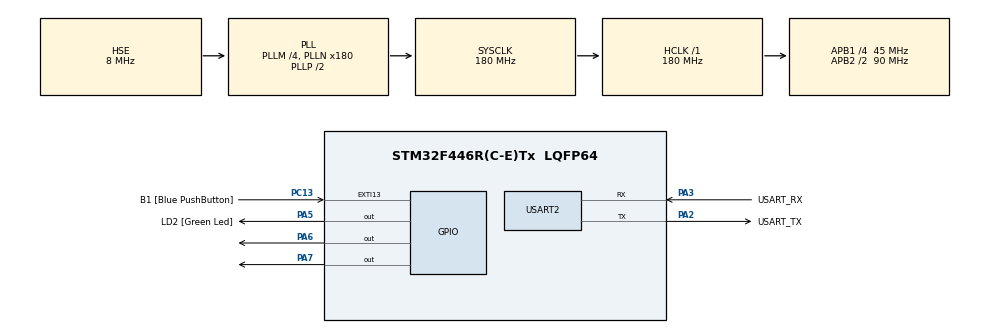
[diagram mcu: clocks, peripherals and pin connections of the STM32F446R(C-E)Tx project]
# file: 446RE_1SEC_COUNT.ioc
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Mcu.Family=STM32F4
Mcu.Name=STM32F446R(C-E)Tx
Mcu.Package=LQFP64
NVIC.PriorityGroup=NVIC_PRIORITYGROUP_0
NVIC.TIM2_IRQn=true\:0\:0\:false\:false\:true\:true
PA13.GPIO_Label=TMS
PA13.Mode=Serial_Wire
PA13.Signal=SYS_JTMS-SWDIO
PA14.GPIO_Label=TCK
PA14.Mode=Serial_Wire
PA14.Signal=SYS_JTCK-SWCLK
PA2.GPIO_Label=USART_TX
PA2.Mode=Asynchronous
PA2.Signal=USART2_TX
PA3.GPIO_Label=USART_RX
PA3.Mode=Asynchronous
PA3.Signal=USART2_RX
PA5.GPIO_Label=LD2 [Green Led]
PA5.Signal=GPIO_Output
PA6.Signal=GPIO_Output
PA7.Signal=GPIO_Output
PB3.GPIO_Label=SWO
PB3.Signal=SYS_JTDO-SWO
PC13.GPIO_Label=B1 [Blue PushButton]
PC13.GPIO_ModeDefaultEXTI=GPIO_MODE_IT_FALLING
PC13.Signal=GPXTI13
PC14-OSC32_IN.Mode=LSE-External-Oscillator
PC14-OSC32_IN.Signal=RCC_OSC32_IN
PC15-OSC32_OUT.Mode=LSE-External-Oscillator
PC15-OSC32_OUT.Signal=RCC_OSC32_OUT
PH0-OSC_IN.Mode=HSE-External-Oscillator
PH0-OSC_IN.Signal=RCC_OSC_IN
PH1-OSC_OUT.Mode=HSE-External-Oscillator
PH1-OSC_OUT.Signal=RCC_OSC_OUT
ProjectManager.HeapSize=0x200
ProjectManager.StackSize=0x400
ProjectManager.TargetToolchain=TrueSTUDIO
RCC.48MHZClocksFreq_Value=84000000
RCC.AHBFreq_Value=180000000
RCC.APB1CLKDivider=RCC_HCLK_DIV4
RCC.APB1Freq_Value=45000000
RCC.APB1TimFreq_Value=90000000
RCC.APB2CLKDivider=RCC_HCLK_DIV2
RCC.APB2Freq_Value=90000000
RCC.APB2TimFreq_Value=180000000
RCC.CortexFreq_Value=180000000
RCC.FLatency-AdvancedSettings=FLASH_LATENCY_5
RCC.HCLKFreq_Value=180000000
RCC.HSE_VALUE=8000000
RCC.HSI_VALUE=16000000
RCC.PLLM=4
RCC.PLLN=180
RCC.PLLSourceVirtual=RCC_PLLSOURCE_HSE
RCC.SYSCLKFreq_VALUE=180000000
RCC.SYSCLKSource=RCC_SYSCLKSOURCE_PLLCLK
RCC.USBFreq_Value=180000000
RCC.VCOOutputFreq_Value=360000000
TIM2.Period=9999
TIM2.Prescaler=8999
USART2.VirtualMode=VM_ASYNC
VP_TIM2_VS_ClockSourceINT.Mode=Internal
board=NUCLEO-F446RE

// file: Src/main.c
/**
  ******************************************************************************
  * @file           : main.c
  * @brief          : Main program body
  ******************************************************************************
  ** This notice applies to any and all portions of this file
  * that are not between comment pairs USER CODE BEGIN and
  * USER CODE END. Other portions of this file, whether
  * inserted by the user or by software development tools
  * are owned by their respective copyright owners.
  *
  * COPYRIGHT(c) 2018 STMicroelectronics
  *
  * Redistribution and use in source and binary forms, with or without modification,
  * are permitted provided that the following conditions are met:
  *   1. Redistributions of source code must retain the above copyright notice,
  *      this list of conditions and the following disclaimer.
  *   2. Redistributions in binary form must reproduce the above copyright notice,
  *      this list of conditions and the following disclaimer in the documentation
  *      and/or other materials provided with the distribution.
  *   3. Neither the name of STMicroelectronics nor the names of its contributors
  *      may be used to endorse or promote products derived from this software
  *      without specific prior written permission.
  *
  * THIS SOFTWARE IS PROVIDED BY THE COPYRIGHT HOLDERS AND CONTRIBUTORS "AS IS"
  * AND ANY EXPRESS OR IMPLIED WARRANTIES, INCLUDING, BUT NOT LIMITED TO, THE
  * IMPLIED WARRANTIES OF MERCHANTABILITY AND FITNESS FOR A PARTICULAR PURPOSE ARE
  * DISCLAIMED. IN NO EVENT SHALL THE COPYRIGHT HOLDER OR CONTRIBUTORS BE LIABLE
  * FOR ANY DIRECT, INDIRECT, INCIDENTAL, SPECIAL, EXEMPLARY, OR CONSEQUENTIAL
  * DAMAGES (INCLUDING, BUT NOT LIMITED TO, PROCUREMENT OF SUBSTITUTE GOODS OR
  * SERVICES; LOSS OF USE, DATA, OR PROFITS; OR BUSINESS INTERRUPTION) HOWEVER
  * CAUSED AND ON ANY THEORY OF LIABILITY, WHETHER IN CONTRACT, STRICT LIABILITY,
  * OR TORT (INCLUDING NEGLIGENCE OR OTHERWISE) ARISING IN ANY WAY OUT OF THE USE
  * OF THIS SOFTWARE, EVEN IF ADVISED OF THE POSSIBILITY OF SUCH DAMAGE.
  *
  ******************************************************************************
  */
#include "main.h"
#include "stm32f4xx_hal.h"

/* USER CODE BEGIN Includes */
//#include "arm_math.h"
#include <math.h>
#include <stdio.h>
/* USER CODE END Includes */

TIM_HandleTypeDef htim2;

UART_HandleTypeDef huart2;

/* USER CODE BEGIN PV */
/* Private variables ---------------------------------------------------------*/
volatile uint32_t nCnt,Rst=0;
/* USER CODE END PV */

void SystemClock_Config(void);
static void MX_GPIO_Init(void);
static void MX_USART2_UART_Init(void);
static void MX_TIM2_Init(void);

/* USER CODE BEGIN PFP */
/* Private function prototypes -----------------------------------------------*/

/* USER CODE END PFP */

/* USER CODE BEGIN 0 */
#ifdef __GNUC__
int _write(int file,uint8_t*ptr,int len)
{
	HAL_UART_Transmit(&huart2,ptr,len,1000);
return len;
}
#elif (__ICCARM__||__CC_ARM)
int fputc(int c,FILE*stream)
{
	HAL_UART_Transmit(&huart2,(uint8_t*)&c,1,1000);
	return c;
}
#endif

void HAL_TIM_PeriodElapsedCallback(TIM_HandleTypeDef *htim)
{
	if(htim->Instance==TIM2)
	{
		Rst=1;
	}
}
/* USER CODE END 0 */

int main(void)
{

  /* MCU Configuration----------------------------------------------------------*/

  /* Reset of all peripherals, Initializes the Flash interface and the Systick. */
  HAL_Init();

  /* Configure the system clock */
  SystemClock_Config();

  /* Initialize all configured peripherals */
  MX_GPIO_Init();
  MX_USART2_UART_Init();
  MX_TIM2_Init();
  /* USER CODE BEGIN 2 */
  while(HAL_TIM_Base_Start_IT(&htim2)!=HAL_OK);

  /* USER CODE END 2 */

  /* Infinite loop */
  /* USER CODE BEGIN WHILE */

  volatile double d;
  while (1)
  {
	  //d = arm_sin_f32((double)nCnt);
     // d = sin((double)nCnt);
	  /*if(Rst)
	  {
		printf("Null Count : %lu\r\n",nCnt);
		nCnt = 0;
		Rst=0;
	  } */
	  //nCnt++;
	  HAL_GPIO_TogglePin(LD2_GPIO_Port, LD2_Pin|GPIO_PIN_6|GPIO_PIN_7);
	  // printf("Code ok!....\n");
	  HAL_Delay(1000);
  /* USER CODE END WHILE */

  }

}

void SystemClock_Config(void)
{

  RCC_OscInitTypeDef RCC_OscInitStruct;
  RCC_ClkInitTypeDef RCC_ClkInitStruct;

    /**Configure the main internal regulator output voltage
    */
  __HAL_RCC_PWR_CLK_ENABLE();

  __HAL_PWR_VOLTAGESCALING_CONFIG(PWR_REGULATOR_VOLTAGE_SCALE1);

    /**Initializes the CPU, AHB and APB busses clocks
    */
  RCC_OscInitStruct.OscillatorType = RCC_OSCILLATORTYPE_HSE;
  RCC_OscInitStruct.HSEState = RCC_HSE_ON;
  RCC_OscInitStruct.PLL.PLLState = RCC_PLL_ON;
  RCC_OscInitStruct.PLL.PLLSource = RCC_PLLSOURCE_HSE;
  RCC_OscInitStruct.PLL.PLLM = 4;
  RCC_OscInitStruct.PLL.PLLN = 180;
  RCC_OscInitStruct.PLL.PLLP = RCC_PLLP_DIV2;
  RCC_OscInitStruct.PLL.PLLQ = 2;
  RCC_OscInitStruct.PLL.PLLR = 2;
  if (HAL_RCC_OscConfig(&RCC_OscInitStruct) != HAL_OK)
  {
    _Error_Handler(__FILE__, __LINE__);
  }

    /**Activate the Over-Drive mode
    */
  if (HAL_PWREx_EnableOverDrive() != HAL_OK)
  {
    _Error_Handler(__FILE__, __LINE__);
  }

    /**Initializes the CPU, AHB and APB busses clocks
    */
  RCC_ClkInitStruct.ClockType = RCC_CLOCKTYPE_HCLK|RCC_CLOCKTYPE_SYSCLK
                              |RCC_CLOCKTYPE_PCLK1|RCC_CLOCKTYPE_PCLK2;
  RCC_ClkInitStruct.SYSCLKSource = RCC_SYSCLKSOURCE_PLLCLK;
  RCC_ClkInitStruct.AHBCLKDivider = RCC_SYSCLK_DIV1;
  RCC_ClkInitStruct.APB1CLKDivider = RCC_HCLK_DIV4;
  RCC_ClkInitStruct.APB2CLKDivider = RCC_HCLK_DIV2;

  if (HAL_RCC_ClockConfig(&RCC_ClkInitStruct, FLASH_LATENCY_5) != HAL_OK)
  {
    _Error_Handler(__FILE__, __LINE__);
  }

    /**Configure the Systick interrupt time
    */
  HAL_SYSTICK_Config(HAL_RCC_GetHCLKFreq()/1000);

    /**Configure the Systick
    */
  HAL_SYSTICK_CLKSourceConfig(SYSTICK_CLKSOURCE_HCLK);

  /* SysTick_IRQn interrupt configuration */
  HAL_NVIC_SetPriority(SysTick_IRQn, 0, 0);
}

/* TIM2 init function */
static void MX_TIM2_Init(void)
{

  TIM_ClockConfigTypeDef sClockSourceConfig;
  TIM_MasterConfigTypeDef sMasterConfig;

  htim2.Instance = TIM2;
  htim2.Init.Prescaler = 8999;
  htim2.Init.CounterMode = TIM_COUNTERMODE_UP;
  htim2.Init.Period = 9999;
  htim2.Init.ClockDivision = TIM_CLOCKDIVISION_DIV1;
  if (HAL_TIM_Base_Init(&htim2) != HAL_OK)
  {
    _Error_Handler(__FILE__, __LINE__);
  }

  sClockSourceConfig.ClockSource = TIM_CLOCKSOURCE_INTERNAL;
  if (HAL_TIM_ConfigClockSource(&htim2, &sClockSourceConfig) != HAL_OK)
  {
    _Error_Handler(__FILE__, __LINE__);
  }

  sMasterConfig.MasterOutputTrigger = TIM_TRGO_RESET;
  sMasterConfig.MasterSlaveMode = TIM_MASTERSLAVEMODE_DISABLE;
  if (HAL_TIMEx_MasterConfigSynchronization(&htim2, &sMasterConfig) != HAL_OK)
  {
    _Error_Handler(__FILE__, __LINE__);
  }

}

/* USART2 init function */
static void MX_USART2_UART_Init(void)
{

  huart2.Instance = USART2;
  huart2.Init.BaudRate = 115200;
  huart2.Init.WordLength = UART_WORDLENGTH_8B;
  huart2.Init.StopBits = UART_STOPBITS_1;
  huart2.Init.Parity = UART_PARITY_NONE;
  huart2.Init.Mode = UART_MODE_TX_RX;
  huart2.Init.HwFlowCtl = UART_HWCONTROL_NONE;
  huart2.Init.OverSampling = UART_OVERSAMPLING_16;
  if (HAL_UART_Init(&huart2) != HAL_OK)
  {
    _Error_Handler(__FILE__, __LINE__);
  }

}

/** Configure pins as
        * Analog
        * Input
        * Output
        * EVENT_OUT
        * EXTI
*/
static void MX_GPIO_Init(void)
{

  GPIO_InitTypeDef GPIO_InitStruct;

  /* GPIO Ports Clock Enable */
  __HAL_RCC_GPIOC_CLK_ENABLE();
  __HAL_RCC_GPIOH_CLK_ENABLE();
  __HAL_RCC_GPIOA_CLK_ENABLE();
  __HAL_RCC_GPIOB_CLK_ENABLE();

  /*Configure GPIO pin Output Level */
  HAL_GPIO_WritePin(GPIOA, LD2_Pin|GPIO_PIN_6|GPIO_PIN_7, GPIO_PIN_RESET);

  /*Configure GPIO pin : B1_Pin */
  GPIO_InitStruct.Pin = B1_Pin;
  GPIO_InitStruct.Mode = GPIO_MODE_IT_FALLING;
  GPIO_InitStruct.Pull = GPIO_NOPULL;
  HAL_GPIO_Init(B1_GPIO_Port, &GPIO_InitStruct);

  /*Configure GPIO pins : LD2_Pin PA6 PA7 */
  GPIO_InitStruct.Pin = LD2_Pin|GPIO_PIN_6|GPIO_PIN_7;
  GPIO_InitStruct.Mode = GPIO_MODE_OUTPUT_PP;
  GPIO_InitStruct.Pull = GPIO_NOPULL;
  GPIO_InitStruct.Speed = GPIO_SPEED_FREQ_LOW;
  HAL_GPIO_Init(GPIOA, &GPIO_InitStruct);

}

void _Error_Handler(char *file, int line)
{
  while(1)
  {
  }
}

/************************ (C) COPYRIGHT STMicroelectronics *****END OF FILE****/
